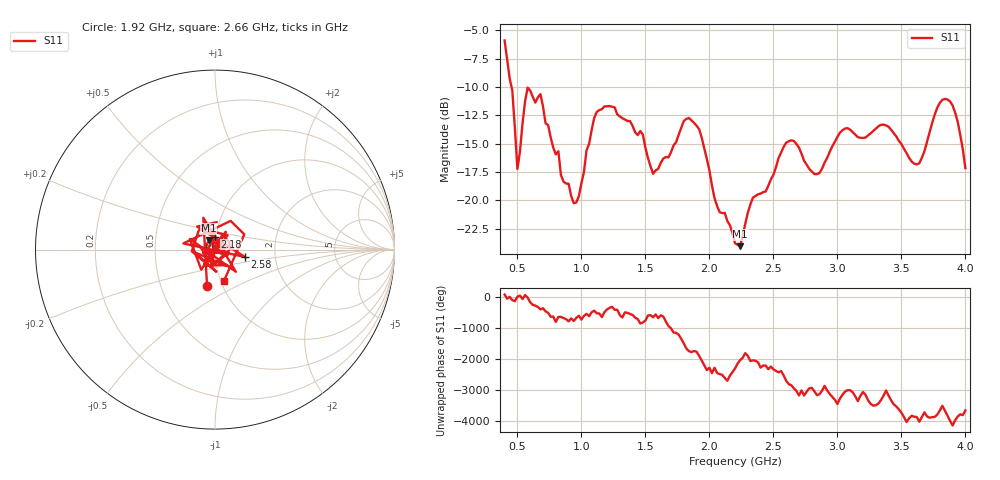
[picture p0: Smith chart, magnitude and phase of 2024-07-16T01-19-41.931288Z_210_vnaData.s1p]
!Created with skrf (http://scikit-rf.org).
# Hz S RI R 50.0
!freq ReS11 ImS11
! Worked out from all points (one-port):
!   181 points, 400 MHz to 4 GHz, reference 50 ohm
!   lowest |S11| = -24.1 dB at 2.24 GHz (marker M1), VSWR 1.13, Z = 46.5 + j4.94 ohm
!   |S11| at or under -10 dB: 454.2 MHz to end of sweep
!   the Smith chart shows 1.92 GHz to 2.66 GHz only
!   S11 on the Smith chart (normalised r, x): 1.92 GHz: 0.85, -0.36; 2.18 GHz: 0.99, +0.14; 2.58 GHz: 1.39, -0.12; 2.66 GHz: 1.03, -0.38
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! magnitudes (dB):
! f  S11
! 400 MHz  -5.9
! 460 MHz  -10.3
! 500 MHz  -17.2
! 580 MHz  -10.1
! 680 MHz  -10.6
! 860 MHz  -18.4
! 960 MHz  -20.2
! 1.12 GHz  -12.2
! 1.3 GHz  -12.6
! 1.48 GHz  -14.2
! 1.56 GHz  -17.7
! 1.76 GHz  -14.2
! 1.92 GHz  -13.7
! 2.04 GHz  -19.8
! 2.18 GHz  -22.9
! 2.2 GHz  -23.8
! 2.24 GHz  -24.1
! 2.34 GHz  -19.8
! 2.58 GHz  -15.3
! 2.66 GHz  -14.8
! 2.84 GHz  -17.7
! 3.1 GHz  -13.8
! 3.38 GHz  -13.4
! 3.56 GHz  -16.3
! 3.64 GHz  -16.7
! 3.84 GHz  -11.1
! 3.92 GHz  -12.3
! 4 GHz  -17.2
